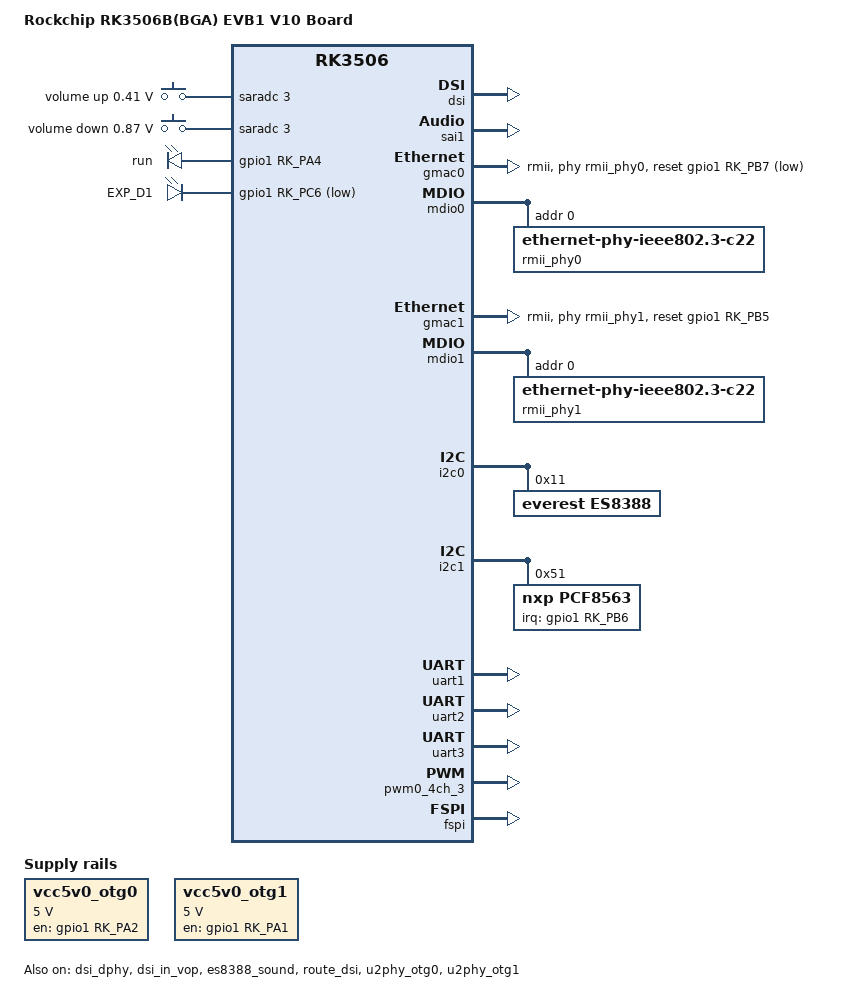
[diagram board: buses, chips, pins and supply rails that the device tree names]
// SPDX-License-Identifier: (GPL-2.0+ OR MIT)
/*
* Copyright (c) 2024 Rockchip Electronics Co., Ltd.
*/

#include "rk3506.dtsi"
#include "rk3506-evb1-v10.dtsi"

/ {
	model = "Rockchip RK3506B(BGA) EVB1 V10 Board";
	compatible = "rockchip,rk3506b-evb1-v10", "rockchip,rk3506";
	
	// vcc3v3_lcd_n: vcc3v3-lcd0-n {
	// 	compatible = "regulator-fixed";
	// 	enable-active-high;
	// 	gpio = <&gpio0 RK_PA1 GPIO_ACTIVE_HIGH>;
	// 	regulator-name = "vcc3v3_lcd_n";
	// 	regulator-boot-on;
	// 	regulator-state-mem {
	// 		regulator-off-in-suspend;
	// 	};
	// };
	
	vcc5v0_otg0: vcc5v0-otg0-regulator {
		compatible = "regulator-fixed";
		regulator-name = "vcc5v0_otg0";
		regulator-min-microvolt = <5000000>;
		regulator-max-microvolt = <5000000>;
		enable-active-high;
		gpio = <&gpio1 RK_PA2 GPIO_ACTIVE_HIGH>;
		pinctrl-names = "default";
		pinctrl-0 = <&vcc5v0_otg0_en>;
	};
	
	vcc5v0_otg1: vcc5v0-otg1-regulator {
		compatible = "regulator-fixed";
		regulator-name = "vcc5v0_otg1";
		regulator-boot-on;
		regulator-always-on;
		regulator-min-microvolt = <5000000>;
		regulator-max-microvolt = <5000000>;
		enable-active-high;
		gpio = <&gpio1 RK_PA1 GPIO_ACTIVE_HIGH>;
		pinctrl-names = "default";
		pinctrl-0 = <&vcc5v0_otg1_en>;
	};
	
	user_adc_keys: user-adc-keys {
		compatible = "adc-keys";
		io-channels = <&saradc 3>;
		io-channel-names = "buttons";
		keyup-threshold-microvolt = <1800000>;
		poll-interval = <100>;
		
		/* SW2 */
		vol-up-key {
			label = "volume up";
			linux,code = <KEY_VOLUMEUP>;
			press-threshold-microvolt = <410000>;
		};
		
		/* SW3 */
		vol-down-key {
			label = "volume down";
			linux,code = <KEY_VOLUMEDOWN>;
			press-threshold-microvolt = <870000>;
		};
	};
	
	leds: leds {
		compatible = "gpio-leds";
		status = "okay";
		
		run_led: run-led {
			label = "run";
			gpios = <&gpio1 RK_PA4 GPIO_ACTIVE_HIGH>;
			linux,default-trigger = "heartbeat";
			default-state = "on";
		};

		EXP_D1: EXP_D1 {
			label = "EXP_D1";
			gpios = <&gpio1 RK_PC6 GPIO_ACTIVE_LOW>;
			//linux,default-trigger = "heartbeat";
			default-state = "on";
		};
	};
	
	/delete-node/ wireless-bluetooth;
	/delete-node/ wireless-wlan;
	
};

&cma {
	size = <0x1600000>;
};

&dsi {
	status = "okay";
};

&dsi_dphy {
	status = "okay";
};

&dsi_in_vop {
	status = "okay";
};

// &dsi_panel {
// 	power-supply = <&vcc3v3_lcd_n>;
// };

&es8388_sound {
	status = "okay";
	/delete-property/ spk-con-gpio;
	hp-det-gpio = <&gpio1 RK_PA6 GPIO_ACTIVE_HIGH>;
	hp-con-gpio = <&gpio1 RK_PA7 GPIO_ACTIVE_HIGH>;
	
	keyup-threshold-microvolt = <1800000>;
	poll-interval = <100>;
	
	rockchip,audio-routing =
	"Headphone", "LOUT1",
	"Headphone", "ROUT1",
	"Headphone", "Headphone Power",
	"Headphone", "Headphone Power",
	"LINPUT1", "Main Mic",
	"LINPUT2", "Main Mic",
	"RINPUT1", "Headset Mic",
	"RINPUT2", "Headset Mic";
	
	pinctrl-names = "default";
	pinctrl-0 = <&hp_det>;
	
	play-pause-key {
		label = "playpause";
		linux,code = <KEY_PLAYPAUSE>;
		press-threshold-microvolt = <2000>;
	};
};

// &gt1x {
// 	power-supply = <&vcc3v3_lcd_n>;
// 	status = "disabled";
// };


&route_dsi {
	status = "okay";
};

&sai1 {
	status = "okay";
};

&u2phy_otg0 {
	vbus-supply = <&vcc5v0_otg0>;
	status = "okay";
};

&u2phy_otg1 {
	phy-supply = <&vcc5v0_otg1>;
	status = "okay";
};

&gmac0 {
	phy-mode = "rmii";
	clock_in_out = "input";
	
	/*
	* PHY: YT8512H
	*/
	snps,reset-gpio = <&gpio1 RK_PB7 GPIO_ACTIVE_LOW>;
	snps,reset-active-low;
	snps,reset-delays-us = <20000 20000 20000>;
	
	pinctrl-names = "default";
	pinctrl-0 = <&eth_rmii0_miim_pins
	&eth_rmii0_tx_bus2_pins
	&eth_rmii0_rx_bus2_pins
	&eth_rmii0_clk_pins>;
	
	phy-handle = <&rmii_phy0>;
	status = "okay";
};

&mdio0 {
	/delete-node/ phy@1;
	rmii_phy0: phy@0 {
		compatible = "ethernet-phy-ieee802.3-c22";
		reg = <0x0>;
	};
};

&gmac1 {
	phy-mode = "rmii";
	clock_in_out = "input";
	
	/*
	* PHY: YT8522H
	*/
	snps,reset-gpio = <&gpio1 RK_PB5 GPIO_ACTIVE_HIGH>;
	snps,reset-active-high;
	snps,reset-delays-us = <20000 20000 20000>;
	
	pinctrl-names = "default";
	pinctrl-0 = <&eth_rmii1_miim_pins
	&eth_rmii1_tx_bus2_pins
	&eth_rmii1_rx_bus2_pins
	&eth_rmii1_clk_pins>;
	
	phy-handle = <&rmii_phy1>;
	status = "okay";
};

&mdio1 {
	rmii_phy1: phy@0 {
		compatible = "ethernet-phy-ieee802.3-c22";
		reg = <0x0>;
	};
};


// &i2c2 {
// 	status = "okay";
// 	pinctrl-names = "default";
// 	pinctrl-0 = <&rm_io4_i2c2_scl
// 	&rm_io5_i2c2_sda>;
	
// 	es8388_1: es8388_1@11 {
// 		status = "okay";
// 		#sound-dai-cells = <0>;
// 		compatible = "everest,es8388", "everest,es8323";
// 		reg = <0x11>;
// 		clocks = <&mclkout_sai1>;
// 		clock-names = "mclk";
// 		assigned-clocks = <&mclkout_sai1>;
// 		assigned-clock-rates = <12288000>;
// 		pinctrl-names = "default";
// 		pinctrl-0 = <&rm_io8_sai1_mclk>;
// 		// 启用 ADC 支持
// 		record-src = "linein", "mic";// 设置录音输入源
// 		playback-src = "dac";// 设置播放源
		
// 	};
	
// 	/* for u-boot */
// 	lt8912b: lt8912b@48 {
// 		compatible = "lontium,lt8912b-hdmi";
// 		reg = <0x48>;
// 		reset-gpios = <&gpio1 RK_PA5 GPIO_ACTIVE_LOW>;
// 		status = "okay";
// 	};
// };

//es8388
&i2c0 {
	// status = "okay";
	// pinctrl-names = "default";
	// pinctrl-0 = <&rm_io25_i2c0_scl
	// &rm_io26_i2c0_sda>;
	es8388: es8388@11 {
		status = "okay";
		#sound-dai-cells = <0>;
		compatible = "everest,es8388", "everest,es8323";
		reg = <0x11>;
		clocks = <&mclkout_sai1>;
		clock-names = "mclk";
		assigned-clocks = <&mclkout_sai1>;
		assigned-clock-rates = <12288000>;
		pinctrl-names = "default";
		pinctrl-0 = <&rm_io8_sai1_mclk>;
		// 启用 ADC 支持
		record-src = "linein", "mic";// 设置录音输入源
		playback-src = "dac";// 设置播放源		
	};
};

//EXPORT0
&spi0 {
	status = "disable";
	num-cs = <2>;
	pinctrl-names = "default";
	pinctrl-0 = <&rm_io14_spi0_clk
	&rm_io13_spi0_csn0
	&rm_io15_spi0_csn1
	&rm_io17_spi0_mosi
	&rm_io16_spi0_miso>;
	
	flash@0 {
		compatible = "winbond,w25q20cl", "jedec,spi-nor";
		reg = <0>;
		spi-max-frequency = <50000000>;
	};
	
	flash@1 {
		compatible = "winbond,w25q20cl", "jedec,spi-nor";
		reg = <1>;
		spi-max-frequency = <50000000>;
	};
};


//rtc
&i2c1 {
	status = "okay";
	pinctrl-names = "default";
	pinctrl-0 = <&rm_io28_i2c1_scl
	&rm_io27_i2c1_sda>;
	pcf8563: pcf8563@51 {
		compatible = "nxp,pcf8563";
		reg = <0x51>;
		pinctrl-names = "default";
		pinctrl-0 = <&at8563_int>;
		interrupt-parent = <&gpio1>;
		interrupts = <RK_PB6 IRQ_TYPE_LEVEL_LOW>;
		// #clock-cells = <0>;
		// status = "okay";
	};
};

//RS485_0
&uart1 {
	pinctrl-names = "default";
	pinctrl-0 = <&rm_io3_uart1_tx
	&rm_io2_uart1_rx>;
	dma-names = "tx", "rx";
	status = "okay";
};

//RS485_1
&uart2 {
	pinctrl-names = "default";
	pinctrl-0 = <&rm_io24_uart2_tx
	&rm_io16_uart2_rx>;	
	dma-names = "tx", "rx";
	status = "okay";	
};

//beidou
&uart3 {
	pinctrl-names = "default";
	pinctrl-0 = <&rm_io1_uart3_tx
	&rm_io4_uart3_rx>;	
	dma-names = "tx", "rx";
	status = "okay";	
};


&pwm0_4ch_3 {
	status = "okay";
	pinctrl-names = "active";
	pinctrl-0 = <&rm_io6_pwm0_ch3>;
};

//EXPORT1
&fspi {
	status = "okay";
};



&pinctrl {
	
	at8563 {
		at8563_int: at8563-int {
			rockchip,pins = <1 RK_PB6 RK_FUNC_GPIO &pcfg_pull_up>;
		};
	};
	
	led_pins: led-pins {
		rockchip,pins = <1 RK_PA4 RK_FUNC_GPIO &pcfg_pull_none>;
	};
	
	headphone {
		hp_det: hp-det {
			rockchip,pins = <1 RK_PA6 RK_FUNC_GPIO &pcfg_pull_none>;
		};
	};
	
	usb {
		vcc5v0_otg0_en: vcc5v0-otg0-en {
			rockchip,pins = <1 RK_PA2 RK_FUNC_GPIO &pcfg_pull_none>;
		};
		
		vcc5v0_otg1_en: vcc5v0-otg1-en {
			rockchip,pins = <1 RK_PA1 RK_FUNC_GPIO &pcfg_pull_none>;
		};
	};
	
};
